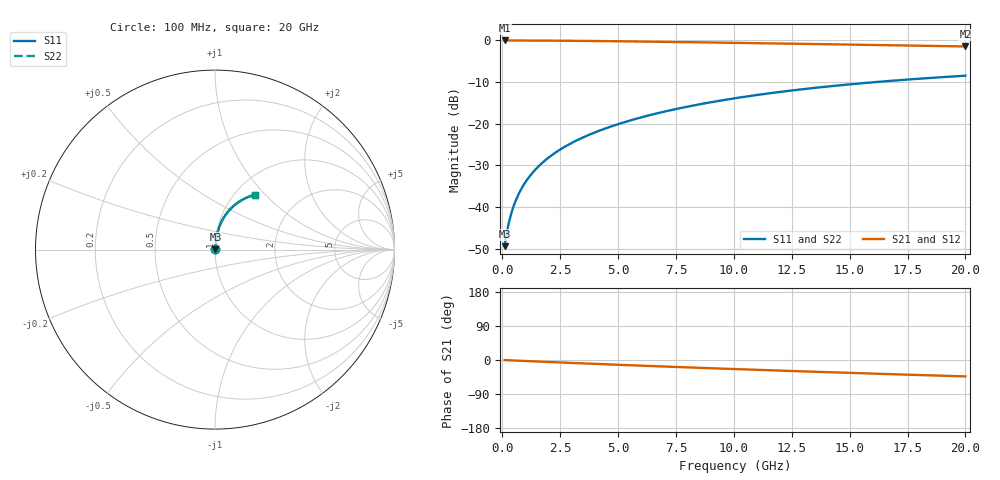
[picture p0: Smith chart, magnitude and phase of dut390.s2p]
! Touchstone file exported from HFSS 2024.1.0
!  File:  C:/UserFiles/LocalFiles/RDL_TSV_Batchsim/temp_RDL_bottom_390_1779614298.aedt
!  Generated:  05:21:05 PM May 24, 2026
!  Design:  RDL_bottom
!  Project:  temp_RDL_bottom_390_1779614298
!  Setup:  Setup1
!  Solution:  Sweep
! Variables:
!  dtsv = 10.80580581um
!  hbump = 3um
!  htsv = 55.44um
!  ldown = 657.35um
!  lrdl = 100um
!  p = 40
!  p1 = 43.92um
!  rhole = 1um
!  t = 450um
!  tdown = 4.85um
!  trdl = 3.915915916um
!  wdown = 19.19um
!  wrdl = 20um
# GHz S MA R 50.000000
! Terminal data exported
! Port[1] = RDL1_T1
! Port[2] = RDL1_T2
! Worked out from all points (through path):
!   200 points, 100 MHz to 20 GHz, reference 50 ohm
!   highest |S21| = -0.02 dB at 100 MHz (marker M1); lowest = -1.5 dB at 20 GHz (marker M2)
!   group delay of S21, straight-line fit = 5.97 ps
!   lowest |S11| = -49.4 dB at 100 MHz (marker M3), VSWR 1.01, Z = 50.3 + j0.215 ohm
!   |S11| at or under -10 dB: start of sweep to 16.13 GHz
!   |S22| runs from -49.4 to -8.5 dB; largest |S21 - S12| = 4e-15
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0.1  0.003407 39.0  0.9973 -0.3  0.9973 -0.3  0.003407 39.0
! Gamma 0 0 0 0
! Port Impedance 50 0 50 0
0.2  0.005038 56.2  0.9972 -0.5  0.9972 -0.5  0.005038 56.2
0.3  0.00682 64.4  0.997 -0.8  0.997 -0.8  0.00682 64.4
0.4  0.008639 69.2  0.9968 -1.1  0.9968 -1.1  0.008639 69.2
0.5  0.01048 72.4  0.9967 -1.3  0.9967 -1.3  0.01048 72.4
0.6  0.01235 74.7  0.9965 -1.6  0.9965 -1.6  0.01235 74.7
0.8  0.01613 77.7  0.9962 -2.1  0.9962 -2.1  0.01613 77.7
1.1  0.02186 80.2  0.9956 -2.9  0.9956 -2.9  0.02186 80.2
1.5  0.02959 81.8  0.9945 -3.9  0.9945 -3.9  0.02959 81.8
1.8  0.03542 82.4  0.9936 -4.7  0.9936 -4.7  0.03542 82.4
2.1  0.04127 82.7  0.9924 -5.5  0.9924 -5.5  0.04127 82.7
2.7  0.05302 82.9  0.9898 -7.0  0.9898 -7.0  0.05303 82.9
3.5  0.06882 82.6  0.9854 -9.0  0.9854 -9.0  0.06883 82.6
4.2  0.08278 82.1  0.9811 -10.7  0.9811 -10.7  0.08279 82.1
5  0.0989 81.2  0.9756 -12.6  0.9756 -12.6  0.09891 81.2
6.8  0.1357 78.8  0.9618 -16.8  0.9618 -16.8  0.1357 78.8
8.4  0.1687 76.1  0.9485 -20.4  0.9485 -20.4  0.1687 76.1
10.1  0.2034 73.0  0.9338 -24.1  0.9338 -24.1  0.2034 73.0
11.7  0.2352 69.9  0.9196 -27.4  0.9196 -27.4  0.2352 69.9
13.4  0.2676 66.6  0.9044 -30.9  0.9044 -30.9  0.2677 66.6
16.7  0.3259 60.2  0.8746 -37.3  0.8746 -37.3  0.326 60.2
20  0.377 54.0  0.8452 -43.3  0.8452 -43.3  0.3771 54.1
